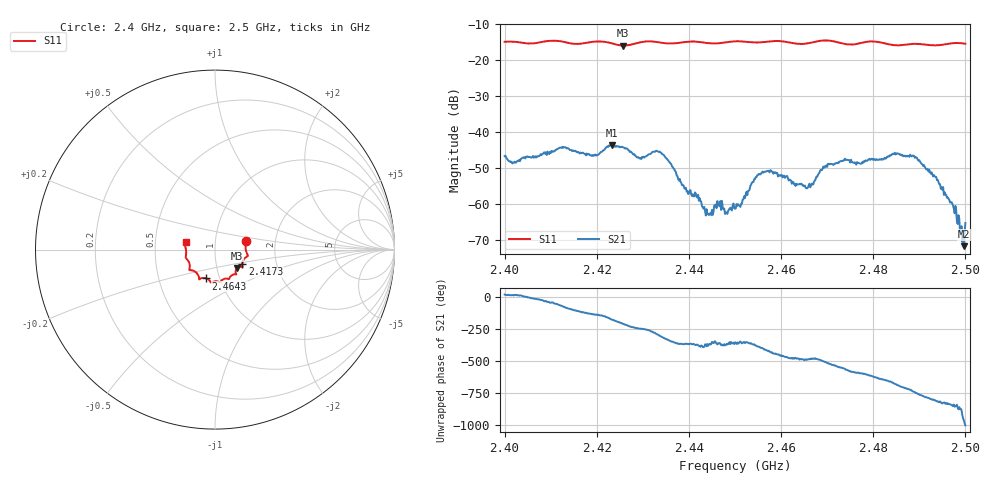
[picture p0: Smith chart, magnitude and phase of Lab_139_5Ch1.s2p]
# Hz S RI R
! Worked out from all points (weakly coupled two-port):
!   601 points, 2.4 GHz to 2.5 GHz, reference 50 ohm
!   highest |S21| = -43.58 dB at 2.4233 GHz (marker M1); lowest = -71.7 dB at 2.4997 GHz (marker M2)
!   lowest |S11| = -15.9 dB at 2.4257 GHz (marker M3), VSWR 1.38, Z = 62.5 - j13.1 ohm
!   |S11| at or under -10 dB: start of sweep to end of sweep
!   S12 and S22 are empty: the file has one direction only
!   S11 on the Smith chart (normalised r, x): 2.4 GHz: 1.41, +0.14; 2.4173 GHz: 1.34, -0.23; 2.4643 GHz: 0.86, -0.28; 2.5 GHz: 0.72, +0.06
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2.4e9  0.1734 0.0489  0.00444 0.00135  0 0  0 0
2.402167e9  0.1759 0.0397  0.00378 0.000899  0 0  0 0
2.412667e9  0.1766 -0.0396  0.00145 -0.0059  0 0  0 0
2.416667e9  0.153 -0.0746  -0.00251 -0.00445  0 0  0 0
2.417333e9  0.152 -0.0821  -0.00285 -0.0041  0 0  0 0
2.423333e9  0.1431 -0.0943  -0.00662 -8.54e-05  0 0  0 0
2.425667e9  0.1229 -0.1024  -0.00531 0.00317  0 0  0 0
2.429167e9  0.1155 -0.1324  -0.0016 0.00408  0 0  0 0
2.433333e9  0.1129 -0.1373  0.0025 0.00477  0 0  0 0
2.444e9  0.0633 -0.1612  0.000722 -0.000115  0 0  0 0
2.45e9  0.0288 -0.1809  0.000861 6.75e-05  0 0  0 0
2.456333e9  -0.00917 -0.1788  0.00171 -0.00223  0 0  0 0
2.464333e9  -0.0499 -0.1607  -0.00111 -0.00158  0 0  0 0
2.466667e9  -0.0759 -0.1592  -0.00114 -0.00156  0 0  0 0
2.470667e9  -0.0878 -0.1647  -0.00349 -0.000938  0 0  0 0
2.483333e9  -0.1405 -0.0898  0.00226 0.00405  0 0  0 0
2.489e9  -0.1628 -0.0454  0.004 -0.00189  0 0  0 0
2.493167e9  -0.1607 -0.0124  0.000294 -0.00251  0 0  0 0
2.4975e9  -0.1705 0.0299  -0.000445 -0.000739  0 0  0 0
2.499167e9  -0.1682 0.0382  -0.000481 -0.000112  0 0  0 0
2.499667e9  -0.1658 0.0408  -0.000112 0.000235  0 0  0 0
2.5e9  -0.1641 0.0426  0.000138 0.00053  0 0  0 0
